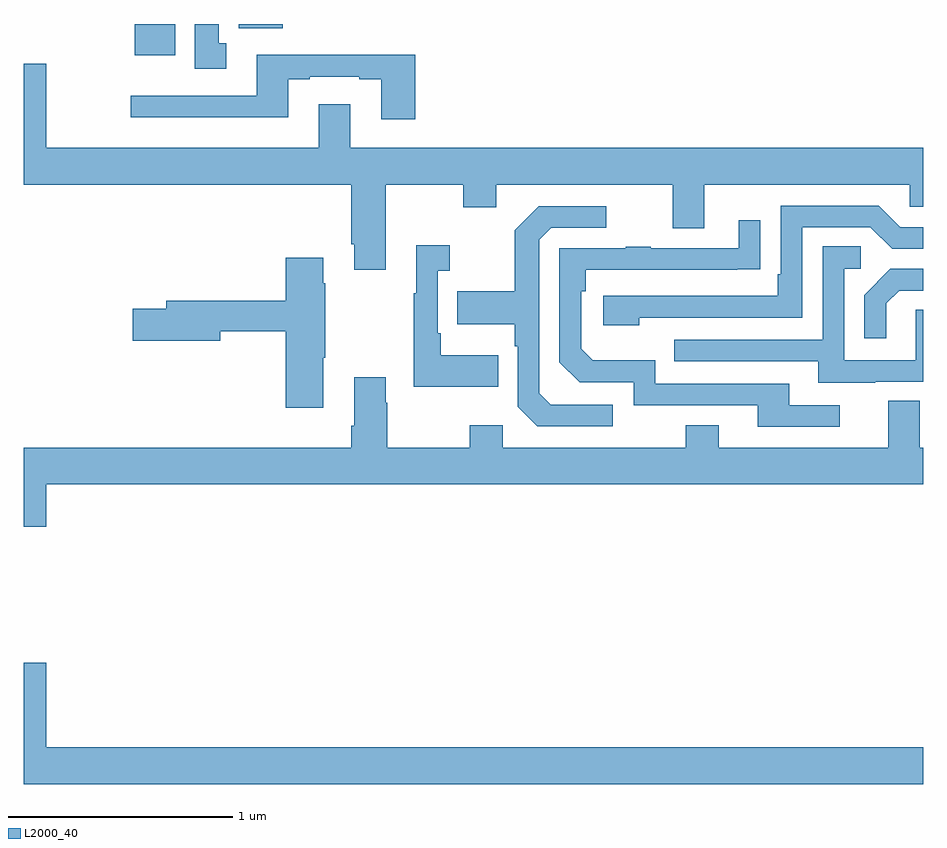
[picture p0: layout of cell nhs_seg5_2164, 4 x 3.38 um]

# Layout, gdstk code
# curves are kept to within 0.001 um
import gdstk
lib = gdstk.Library(unit=1e-6, precision=1e-09)
def R(c, l, rs):  # rectangles x0, y0, x1, y1
    for r in rs: c.add(gdstk.rectangle(r[:2], r[2:], *l))
def P(c, l, *ps):  # polygons
    for p in ps: c.add(gdstk.Polygon(p, *l))
L2000_40 = (2000, 40)

nhs_seg5_2164 = lib.new_cell('nhs_seg5_2164')
R(nhs_seg5_2164, L2000_40, [(237.494,866.66,237.673,866.799), (237.956,866.78,238.153,866.799)])
P(nhs_seg5_2164, L2000_40, [(237.901,866.714),(237.868,866.714),(237.868,866.799),(237.761,866.799),(237.761,866.601),(237.901,866.601)],
  [(238.742,866.662),(238.037,866.662),(238.037,866.481),(237.477,866.481),(237.477,866.384),(238.177,866.384),(238.177,866.553),(238.273,866.553),(238.273,866.565),(238.493,866.565),(238.493,866.553),(238.589,866.553),(238.589,866.376),(238.742,866.376)],
  [(238.453,866.443),(238.313,866.443),(238.313,866.248),(237.1,866.248),(237.1,866.623),(237,866.623),(237,866.084),(238.457,866.084),(238.457,865.819),(238.469,865.819),(238.469,865.707),(238.609,865.707),(238.609,866.084),(238.954,866.084),(238.954,865.985),(239.101,865.985),(239.101,866.084),(239.885,866.084),(239.885,865.89),(240.025,865.89),(240.025,866.084),(240.939,866.084),(240.939,865.986),(241,865.986),(241,866.248),(238.453,866.248)],
  [(239.738,865.494),(240.462,865.494),(240.462,865.896),(240.765,865.896),(240.861,865.8),(241,865.8),(241,865.896),(240.897,865.896),(240.801,865.992),(240.366,865.992),(240.366,865.687),(240.353,865.687),(240.353,865.59),(239.577,865.59),(239.577,865.46),(239.738,865.46)],
  [(239.62,865.107),(239.343,865.107),(239.292,865.158),(239.292,865.839),(239.346,865.893),(239.59,865.893),(239.59,865.989),(239.289,865.989),(239.184,865.883),(239.184,865.611),(238.927,865.611),(238.927,865.463),(239.184,865.463),(239.184,865.367),(239.196,865.367),(239.196,865.098),(239.283,865.011),(239.62,865.011)],
  [(240.628,865.104),(240.403,865.104),(240.403,865.2),(239.808,865.2),(239.808,865.303),(239.531,865.303),(239.478,865.356),(239.478,865.61),(239.498,865.61),(239.498,865.707),(240.275,865.708),(240.275,865.927),(240.179,865.927),(240.179,865.803),(239.789,865.803),(239.789,865.808),(239.677,865.808),(239.677,865.803),(239.382,865.803),(239.382,865.296),(239.472,865.206),(239.712,865.206),(239.712,865.104),(240.263,865.104),(240.263,865.008),(240.628,865.008)],
  [(239.111,865.327),(238.855,865.327),(238.855,865.423),(238.842,865.423),(238.842,865.703),(238.894,865.703),(238.894,865.816),(238.745,865.816),(238.745,865.603),(238.734,865.603),(238.734,865.187),(239.111,865.187)],
  [(240.787,865.209),(241,865.209),(241,865.529),(240.966,865.529),(240.966,865.305),(240.648,865.305),(240.648,865.71),(240.721,865.71),(240.721,865.811),(240.552,865.811),(240.552,865.395),(239.893,865.395),(239.893,865.299),(240.533,865.299),(240.533,865.205),(240.787,865.205)],
  [(238.333,865.315),(238.341,865.315),(238.341,865.646),(238.333,865.646),(238.333,865.759),(238.166,865.759),(238.166,865.568),(237.635,865.568),(237.635,865.532),(237.486,865.532),(237.486,865.39),(237.874,865.39),(237.874,865.432),(238.166,865.432),(238.166,865.092),(238.333,865.092)],
  [(240.835,865.557),(240.892,865.614),(241,865.614),(241,865.71),(240.854,865.71),(240.738,865.594),(240.738,865.401),(240.835,865.401)],
  [(237.1,864.752),(241,864.752),(241,864.916),(240.985,864.916),(240.985,865.124),(240.845,865.124),(240.845,864.916),(240.091,864.916),(240.091,865.015),(239.944,865.015),(239.944,864.916),(239.13,864.916),(239.13,865.015),(238.984,865.015),(238.984,864.916),(238.617,864.916),(238.617,865.115),(238.609,865.115),(238.609,865.228),(238.469,865.228),(238.469,865.012),(238.457,865.012),(238.457,864.916),(237,864.916),(237,864.564),(237.1,864.564)],
  [(241,863.584),(237.1,863.584),(237.1,863.959),(237,863.959),(237,863.42),(241,863.42)])

lib.write_gds('nhs_seg5_2164.gds')
